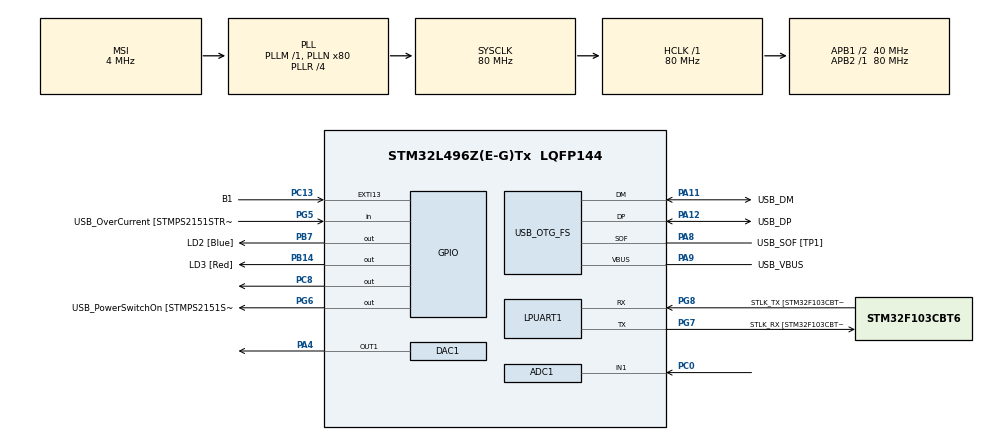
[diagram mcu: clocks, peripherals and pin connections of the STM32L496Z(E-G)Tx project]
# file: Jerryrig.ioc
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ADC1.Channel-0\#ChannelRegularConversion=ADC_CHANNEL_1
ADC1.ContinuousConvMode=DISABLE
ADC1.DMAContinuousRequests=ENABLE
ADC1.ExternalTrigConv=ADC_EXTERNALTRIG_T6_TRGO
ADC1.NbrOfConversionFlag=1
ADC1.OffsetNumber-0\#ChannelRegularConversion=ADC_OFFSET_NONE
ADC1.Rank-0\#ChannelRegularConversion=1
ADC1.SamplingTime-0\#ChannelRegularConversion=ADC_SAMPLETIME_2CYCLES_5
ADC1.master=1
DAC1.DAC_OutputBuffer-DAC_OUT1=DAC_OUTPUTBUFFER_ENABLE
DAC1.DAC_Trigger-DAC_OUT1=DAC_TRIGGER_T6_TRGO
DAC1.DAC_UserTrimming-DAC_OUT1=DAC_TRIMMING_FACTORY
Dma.ADC1.1.Direction=DMA_PERIPH_TO_MEMORY
Dma.ADC1.1.Instance=DMA1_Channel1
Dma.ADC1.1.MemDataAlignment=DMA_MDATAALIGN_WORD
Dma.ADC1.1.MemInc=DMA_MINC_ENABLE
Dma.ADC1.1.Mode=DMA_CIRCULAR
Dma.ADC1.1.PeriphDataAlignment=DMA_PDATAALIGN_WORD
Dma.ADC1.1.PeriphInc=DMA_PINC_DISABLE
Dma.ADC1.1.Priority=DMA_PRIORITY_HIGH
Dma.DAC_CH1.0.Direction=DMA_MEMORY_TO_PERIPH
Dma.DAC_CH1.0.Instance=DMA1_Channel3
Dma.DAC_CH1.0.MemDataAlignment=DMA_MDATAALIGN_WORD
Dma.DAC_CH1.0.MemInc=DMA_MINC_ENABLE
Dma.DAC_CH1.0.Mode=DMA_CIRCULAR
Dma.DAC_CH1.0.PeriphDataAlignment=DMA_PDATAALIGN_WORD
Dma.DAC_CH1.0.PeriphInc=DMA_PINC_DISABLE
Dma.DAC_CH1.0.Priority=DMA_PRIORITY_HIGH
Dma.Request0=DAC_CH1
Dma.Request1=ADC1
Mcu.Family=STM32L4
Mcu.Name=STM32L496Z(E-G)Tx
Mcu.Package=LQFP144
NVIC.DMA1_Channel1_IRQn=true\:0\:0\:false\:false\:true\:false\:true\:true
NVIC.DMA1_Channel3_IRQn=true\:0\:0\:false\:false\:true\:false\:true\:true
NVIC.PriorityGroup=NVIC_PRIORITYGROUP_4
NVIC.TIM7_IRQn=true\:0\:0\:false\:false\:true\:true\:true\:true
PA10.GPIO_Label=USB_ID
PA10.Signal=USB_OTG_FS_ID
PA11.GPIO_Label=USB_DM
PA11.Mode=Device_Only
PA11.Signal=USB_OTG_FS_DM
PA12.GPIO_Label=USB_DP
PA12.Mode=Device_Only
PA12.Signal=USB_OTG_FS_DP
PA13\ (JTMS/SWDIO).GPIO_Label=TMS
PA13\ (JTMS/SWDIO).Mode=Serial_Wire
PA13\ (JTMS/SWDIO).Signal=SYS_JTMS-SWDIO
PA14\ (JTCK/SWCLK).GPIO_Label=TCK
PA14\ (JTCK/SWCLK).Mode=Serial_Wire
PA14\ (JTCK/SWCLK).Signal=SYS_JTCK-SWCLK
PA4.Signal=COMP_DAC11_group
PA8.GPIO_Label=USB_SOF [TP1]
PA8.Mode=Activate_SOF_FS
PA8.Signal=USB_OTG_FS_SOF
PA9.GPIO_Label=USB_VBUS
PA9.Mode=Activate_VBUS
PA9.Signal=USB_OTG_FS_VBUS
PB14.GPIO_Label=LD3 [Red]
PB14.Signal=GPIO_Output
PB3\ (JTDO/TRACESWO).GPIO_Label=SWO
PB3\ (JTDO/TRACESWO).Signal=SYS_JTDO-SWO
PB7.GPIO_Label=LD2 [Blue]
PB7.Signal=GPIO_Output
PC0.Signal=ADCx_IN1
PC13.GPIO_Label=B1
PC13.Signal=GPXTI13
PC14-OSC32_IN\ (PC14).Mode=LSE-External-Oscillator
PC14-OSC32_IN\ (PC14).Signal=RCC_OSC32_IN
PC15-OSC32_OUT\ (PC15).Mode=LSE-External-Oscillator
PC15-OSC32_OUT\ (PC15).Signal=RCC_OSC32_OUT
PC8.Signal=GPIO_Output
PG5.GPIO_Label=USB_OverCurrent [STMPS2151STR_FAULT]
PG5.Signal=GPIO_Input
PG6.GPIO_Label=USB_PowerSwitchOn [STMPS2151STR_EN]
PG6.Signal=GPIO_Output
PG7.GPIO_Label=STLK_RX [STM32F103CBT6_PA3]
PG7.Mode=Asynchronous
PG7.Signal=LPUART1_TX
PG8.GPIO_Label=STLK_TX [STM32F103CBT6_PA2]
PG8.Mode=Asynchronous
PG8.Signal=LPUART1_RX
PH1-OSC_OUT\ (PH1).Signal=RCC_OSC_OUT
ProjectManager.HeapSize=0x200
ProjectManager.StackSize=0x400
ProjectManager.TargetToolchain=Makefile
RCC.48MHZClocksFreq_Value=24000000
RCC.ADCFreq_Value=48000000
RCC.AHBFreq_Value=80000000
RCC.APB1CLKDivider=RCC_HCLK_DIV2
RCC.APB1Freq_Value=40000000
RCC.APB1TimFreq_Value=80000000
RCC.APB2Freq_Value=80000000
RCC.APB2TimFreq_Value=80000000
RCC.CortexFreq_Value=80000000
RCC.HCLKFreq_Value=80000000
RCC.HSE_VALUE=8000000
RCC.HSI48_VALUE=48000000
RCC.HSI_VALUE=16000000
RCC.MSI_VALUE=4000000
RCC.PLLMUL=RCC_PLL_MUL9
RCC.PLLN=80
RCC.PLLR=RCC_PLLR_DIV4
RCC.PLLSAI1N=24
RCC.PRESCALERUSB=RCC_USBCLKSOURCE_PLL_DIV1_5
RCC.SYSCLKFreq_VALUE=80000000
RCC.SYSCLKSource=RCC_SYSCLKSOURCE_PLLCLK
RCC.SYSCLKSourceVirtual=RCC_SYSCLKSOURCE_PLLCLK
RCC.USBFreq_Value=48000000
RCC.VCOOutputFreq_Value=320000000
SH.ADCx_IN1.0=ADC1_IN1,IN1-Single-Ended
SH.COMP_DAC11_group.0=DAC1_OUT1,DAC_OUT1
TIM6.Period=400
TIM6.TIM_MasterOutputTrigger=TIM_TRGO_UPDATE
TIM7.Period=10000
USB_OTG_FS.VirtualMode=Device_Only
VP_TIM6_VS_ClockSourceINT.Mode=Enable_Timer
VP_TIM7_VS_ClockSourceINT.Mode=Enable_Timer
board=NUCLEO-L496ZG

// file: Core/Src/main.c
/* USER CODE BEGIN Header */
/**
  ******************************************************************************
  * @file           : main.c
  * @brief          : Main program body
  ******************************************************************************
  * @attention
  *
  * Copyright (c) 2023 STMicroelectronics.
  * All rights reserved.
  *
  * This software is licensed under terms that can be found in the LICENSE file
  * in the root directory of this software component.
  * If no LICENSE file comes with this software, it is provided AS-IS.
  *
  ******************************************************************************
  */
/* USER CODE END Header */
#include "main.h"

/* USER CODE BEGIN PD */
#define NS 1000
#define FULL_BUF_SIZE 256
#define HALF_BUF_SIZE 128
/* USER CODE END PD */

ADC_HandleTypeDef hadc1;
DMA_HandleTypeDef hdma_adc1;

DAC_HandleTypeDef hdac1;
DMA_HandleTypeDef hdma_dac_ch1;

UART_HandleTypeDef hlpuart1;

TIM_HandleTypeDef htim6;
TIM_HandleTypeDef htim7;

PCD_HandleTypeDef hpcd_USB_OTG_FS;

/* USER CODE BEGIN PV */
volatile uint32_t adc_val[FULL_BUF_SIZE];
volatile uint32_t dac_val[FULL_BUF_SIZE];

uint32_t* in_buf_ptr;
uint32_t* out_buf_ptr;
uint32_t out_out_ptr = 0;

int flag = 0;
int counter = 0;
int counter_counter = 0;

float Wave_LUT[NS] = {

     0        ,  0.00628314,  0.01256604,  0.01884844,  0.0251301 ,
  0.03141076,  0.03769018,  0.04396812,  0.05024432,  0.05651853,
  0.06279052,  0.06906003,  0.07532681,  0.08159061,  0.0878512 ,
  0.09410831,  0.10036171,  0.10661115,  0.11285638,  0.11909716,
  0.12533323,  0.13156436,  0.13779029,  0.14401078,  0.15022559,
  0.15643447,  0.16263717,  0.16883344,  0.17502306,  0.18120576,
  0.18738131,  0.19354947,  0.19970998,  0.20586261,  0.21200711,
  0.21814324,  0.22427076,  0.23038943,  0.236499  ,  0.24259923,
  0.24868989,  0.25477073,  0.26084151,  0.26690199,  0.27295194,
  0.27899111,  0.28501926,  0.29103617,  0.29704158,  0.30303527,
  0.30901699,  0.31498652,  0.32094361,  0.32688803,  0.33281954,
  0.33873792,  0.34464292,  0.35053432,  0.35641188,  0.36227537,
  0.36812455,  0.37395921,  0.3797791 ,  0.38558399,  0.39137367,
  0.39714789,  0.40290644,  0.40864907,  0.41437558,  0.42008573,
  0.42577929,  0.43145605,  0.43711577,  0.44275823,  0.44838322,
  0.4539905 ,  0.45957986,  0.46515108,  0.47070393,  0.4762382 ,
  0.48175367,  0.48725013,  0.49272734,  0.49818511,  0.5036232 ,
  0.50904142,  0.51443953,  0.51981734,  0.52517463,  0.53051118,
  0.53582679,  0.54112125,  0.54639435,  0.55164587,  0.55687562,
  0.56208338,  0.56726895,  0.57243213,  0.5775727 ,  0.58269048,
  0.58778525,  0.59285682,  0.59790498,  0.60292954,  0.6079303 ,
  0.61290705,  0.61785961,  0.62278778,  0.62769136,  0.63257016,
  0.63742399,  0.64225265,  0.64705596,  0.65183373,  0.65658576,
  0.66131187,  0.66601187,  0.67068558,  0.67533281,  0.67995338,
  0.68454711,  0.68911381,  0.69365331,  0.69816542,  0.70264997,
  0.70710678,  0.71153568,  0.71593648,  0.72030902,  0.72465313,
  0.72896863,  0.73325535,  0.73751312,  0.74174177,  0.74594115,
  0.75011107,  0.75425138,  0.75836192,  0.76244251,  0.76649301,
  0.77051324,  0.77450306,  0.7784623 ,  0.78239081,  0.78628843,
  0.79015501,  0.7939904 ,  0.79779444,  0.80156698,  0.80530789,
  0.80901699,  0.81269416,  0.81633925,  0.81995211,  0.8235326 ,
  0.82708057,  0.8305959 ,  0.83407843,  0.83752804,  0.84094458,
  0.84432793,  0.84767794,  0.85099448,  0.85427743,  0.85752666,
  0.86074203,  0.86392342,  0.8670707 ,  0.87018375,  0.87326245,
  0.87630668,  0.87931631,  0.88229123,  0.88523131,  0.88813645,
  0.89100652,  0.89384142,  0.89664104,  0.89940525,  0.90213396,
  0.90482705,  0.90748442,  0.91010597,  0.91269159,  0.91524117,
  0.91775463,  0.92023185,  0.92267274,  0.92507721,  0.92744515,
  0.92977649,  0.93207111,  0.93432894,  0.93654989,  0.93873386,
  0.94088077,  0.94299054,  0.94506308,  0.9470983 ,  0.94909614,
  0.95105652,  0.95297934,  0.95486454,  0.95671205,  0.95852179,
  0.96029369,  0.96202767,  0.96372368,  0.96538164,  0.96700149,
  0.96858316,  0.9701266 ,  0.97163173,  0.97309851,  0.97452687,
  0.97591676,  0.97726812,  0.9785809 ,  0.97985505,  0.98109052,
  0.98228725,  0.9834452 ,  0.98456433,  0.9856446 ,  0.98668594,
  0.98768834,  0.98865174,  0.98957612,  0.99046143,  0.99130763,
  0.9921147 ,  0.9928826 ,  0.99361131,  0.99430079,  0.99495102,
  0.99556196,  0.99613361,  0.99666593,  0.9971589 ,  0.99761251,
  0.99802673,  0.99840155,  0.99873696,  0.99903293,  0.99928947,
  0.99950656,  0.99968419,  0.99982235,  0.99992104,  0.99998026,
  1        ,  0.99998026,  0.99992104,  0.99982235,  0.99968419,
  0.99950656,  0.99928947,  0.99903293,  0.99873696,  0.99840155,
  0.99802673,  0.99761251,  0.9971589 ,  0.99666593,  0.99613361,
  0.99556196,  0.99495102,  0.99430079,  0.99361131,  0.9928826 ,
  0.9921147 ,  0.99130763,  0.99046143,  0.98957612,  0.98865174,
  0.98768834,  0.98668594,  0.9856446 ,  0.98456433,  0.9834452 ,
  0.98228725,  0.98109052,  0.97985505,  0.9785809 ,  0.97726812,
  0.97591676,  0.97452687,  0.97309851,  0.97163173,  0.9701266 ,
  0.96858316,  0.96700149,  0.96538164,  0.96372368,  0.96202767,
  0.96029369,  0.95852179,  0.95671205,  0.95486454,  0.95297934,
  0.95105652,  0.94909614,  0.9470983 ,  0.94506308,  0.94299054,
  0.94088077,  0.93873386,  0.93654989,  0.93432894,  0.93207111,
  0.92977649,  0.92744515,  0.92507721,  0.92267274,  0.92023185,
  0.91775463,  0.91524117,  0.91269159,  0.91010597,  0.90748442,
  0.90482705,  0.90213396,  0.89940525,  0.89664104,  0.89384142,
  0.89100652,  0.88813645,  0.88523131,  0.88229123,  0.87931631,
  0.87630668,  0.87326245,  0.87018375,  0.8670707 ,  0.86392342,
  0.86074203,  0.85752666,  0.85427743,  0.85099448,  0.84767794,
  0.84432793,  0.84094458,  0.83752804,  0.83407843,  0.8305959 ,
  0.82708057,  0.8235326 ,  0.81995211,  0.81633925,  0.81269416,
  0.80901699,  0.80530789,  0.80156698,  0.79779444,  0.7939904 ,
  0.79015501,  0.78628843,  0.78239081,  0.7784623 ,  0.77450306,
  0.77051324,  0.76649301,  0.76244251,  0.75836192,  0.75425138,
  0.75011107,  0.74594115,  0.74174177,  0.73751312,  0.73325535,
  0.72896863,  0.72465313,  0.72030902,  0.71593648,  0.71153568,
  0.70710678,  0.70264997,  0.69816542,  0.69365331,  0.68911381,
  0.68454711,  0.67995338,  0.67533281,  0.67068558,  0.66601187,
  0.66131187,  0.65658576,  0.65183373,  0.64705596,  0.64225265,
  0.63742399,  0.63257016,  0.62769136,  0.62278778,  0.61785961,
  0.61290705,  0.6079303 ,  0.60292954,  0.59790498,  0.59285682,
  0.58778525,  0.58269048,  0.5775727 ,  0.57243213,  0.56726895,
  0.56208338,  0.55687562,  0.55164587,  0.54639435,  0.54112125,
  0.53582679,  0.53051118,  0.52517463,  0.51981734,  0.51443953,
  0.50904142,  0.5036232 ,  0.49818511,  0.49272734,  0.48725013,
  0.48175367,  0.4762382 ,  0.47070393,  0.46515108,  0.45957986,
  0.4539905 ,  0.44838322,  0.44275823,  0.43711577,  0.43145605,
  0.42577929,  0.42008573,  0.41437558,  0.40864907,  0.40290644,
  0.39714789,  0.39137367,  0.38558399,  0.3797791 ,  0.37395921,
  0.36812455,  0.36227537,  0.35641188,  0.35053432,  0.34464292,
  0.33873792,  0.33281954,  0.32688803,  0.32094361,  0.31498652,
  0.30901699,  0.30303527,  0.29704158,  0.29103617,  0.28501926,
  0.27899111,  0.27295194,  0.26690199,  0.26084151,  0.25477073,
  0.24868989,  0.24259923,  0.236499  ,  0.23038943,  0.22427076,
  0.21814324,  0.21200711,  0.20586261,  0.19970998,  0.19354947,
  0.18738131,  0.18120576,  0.17502306,  0.16883344,  0.16263717,
  0.15643447,  0.15022559,  0.14401078,  0.13779029,  0.13156436,
  0.12533323,  0.11909716,  0.11285638,  0.10661115,  0.10036171,
  0.09410831,  0.0878512 ,  0.08159061,  0.07532681,  0.06906003,
  0.06279052,  0.05651853,  0.05024432,  0.04396812,  0.03769018,
  0.03141076,  0.0251301 ,  0.01884844,  0.01256604,  0.00628314,
  0        , -0.00628314, -0.01256604, -0.01884844, -0.0251301 ,
 -0.03141076, -0.03769018, -0.04396812, -0.05024432, -0.05651853,
 -0.06279052, -0.06906003, -0.07532681, -0.08159061, -0.0878512 ,
 -0.09410831, -0.10036171, -0.10661115, -0.11285638, -0.11909716,
 -0.12533323, -0.13156436, -0.13779029, -0.14401078, -0.15022559,
 -0.15643447, -0.16263717, -0.16883344, -0.17502306, -0.18120576,
 -0.18738131, -0.19354947, -0.19970998, -0.20586261, -0.21200711,
 -0.21814324, -0.22427076, -0.23038943, -0.236499  , -0.24259923,
 -0.24868989, -0.25477073, -0.26084151, -0.26690199, -0.27295194,
 -0.27899111, -0.28501926, -0.29103617, -0.29704158, -0.30303527,
 -0.30901699, -0.31498652, -0.32094361, -0.32688803, -0.33281954,
 -0.33873792, -0.34464292, -0.35053432, -0.35641188, -0.36227537,
 -0.36812455, -0.37395921, -0.3797791 , -0.38558399, -0.39137367,
 -0.39714789, -0.40290644, -0.40864907, -0.41437558, -0.42008573,
 -0.42577929, -0.43145605, -0.43711577, -0.44275823, -0.44838322,
 -0.4539905 , -0.45957986, -0.46515108, -0.47070393, -0.4762382 ,
 -0.48175367, -0.48725013, -0.49272734, -0.49818511, -0.5036232 ,
 -0.50904142, -0.51443953, -0.51981734, -0.52517463, -0.53051118,
 -0.53582679, -0.54112125, -0.54639435, -0.55164587, -0.55687562,
 -0.56208338, -0.56726895, -0.57243213, -0.5775727 , -0.58269048,
 -0.58778525, -0.59285682, -0.59790498, -0.60292954, -0.6079303 ,
 -0.61290705, -0.61785961, -0.62278778, -0.62769136, -0.63257016,
 -0.63742399, -0.64225265, -0.64705596, -0.65183373, -0.65658576,
 -0.66131187, -0.66601187, -0.67068558, -0.67533281, -0.67995338,
 -0.68454711, -0.68911381, -0.69365331, -0.69816542, -0.70264997,
 -0.70710678, -0.71153568, -0.71593648, -0.72030902, -0.72465313,
 -0.72896863, -0.73325535, -0.73751312, -0.74174177, -0.74594115,
 -0.75011107, -0.75425138, -0.75836192, -0.76244251, -0.76649301,
 -0.77051324, -0.77450306, -0.7784623 , -0.78239081, -0.78628843,
 -0.79015501, -0.7939904 , -0.79779444, -0.80156698, -0.80530789,
 -0.80901699, -0.81269416, -0.81633925, -0.81995211, -0.8235326 ,
 -0.82708057, -0.8305959 , -0.83407843, -0.83752804, -0.84094458,
 -0.84432793, -0.84767794, -0.85099448, -0.85427743, -0.85752666,
 -0.86074203, -0.86392342, -0.8670707 , -0.87018375, -0.87326245,
 -0.87630668, -0.87931631, -0.88229123, -0.88523131, -0.88813645,
 -0.89100652, -0.89384142, -0.89664104, -0.89940525, -0.90213396,
 -0.90482705, -0.90748442, -0.91010597, -0.91269159, -0.91524117,
 -0.91775463, -0.92023185, -0.92267274, -0.92507721, -0.92744515,
 -0.92977649, -0.93207111, -0.93432894, -0.93654989, -0.93873386,
 -0.94088077, -0.94299054, -0.94506308, -0.9470983 , -0.94909614,
 -0.95105652, -0.95297934, -0.95486454, -0.95671205, -0.95852179,
 -0.96029369, -0.96202767, -0.96372368, -0.96538164, -0.96700149,
 -0.96858316, -0.9701266 , -0.97163173, -0.97309851, -0.97452687,
 -0.97591676, -0.97726812, -0.9785809 , -0.97985505, -0.98109052,
 -0.98228725, -0.9834452 , -0.98456433, -0.9856446 , -0.98668594,
 -0.98768834, -0.98865174, -0.98957612, -0.99046143, -0.99130763,
 -0.9921147 , -0.9928826 , -0.99361131, -0.99430079, -0.99495102,
 -0.99556196, -0.99613361, -0.99666593, -0.9971589 , -0.99761251,
 -0.99802673, -0.99840155, -0.99873696, -0.99903293, -0.99928947,
 -0.99950656, -0.99968419, -0.99982235, -0.99992104, -0.99998026,
 -1        , -0.99998026, -0.99992104, -0.99982235, -0.99968419,
 -0.99950656, -0.99928947, -0.99903293, -0.99873696, -0.99840155,
 -0.99802673, -0.99761251, -0.9971589 , -0.99666593, -0.99613361,
 -0.99556196, -0.99495102, -0.99430079, -0.99361131, -0.9928826 ,
 -0.9921147 , -0.99130763, -0.99046143, -0.98957612, -0.98865174,
 -0.98768834, -0.98668594, -0.9856446 , -0.98456433, -0.9834452 ,
 -0.98228725, -0.98109052, -0.97985505, -0.9785809 , -0.97726812,
 -0.97591676, -0.97452687, -0.97309851, -0.97163173, -0.9701266 ,
 -0.96858316, -0.96700149, -0.96538164, -0.96372368, -0.96202767,
 -0.96029369, -0.95852179, -0.95671205, -0.95486454, -0.95297934,
 -0.95105652, -0.94909614, -0.9470983 , -0.94506308, -0.94299054,
 -0.94088077, -0.93873386, -0.93654989, -0.93432894, -0.93207111,
 -0.92977649, -0.92744515, -0.92507721, -0.92267274, -0.92023185,
 -0.91775463, -0.91524117, -0.91269159, -0.91010597, -0.90748442,
 -0.90482705, -0.90213396, -0.89940525, -0.89664104, -0.89384142,
 -0.89100652, -0.88813645, -0.88523131, -0.88229123, -0.87931631,
 -0.87630668, -0.87326245, -0.87018375, -0.8670707 , -0.86392342,
 -0.86074203, -0.85752666, -0.85427743, -0.85099448, -0.84767794,
 -0.84432793, -0.84094458, -0.83752804, -0.83407843, -0.8305959 ,
 -0.82708057, -0.8235326 , -0.81995211, -0.81633925, -0.81269416,
 -0.80901699, -0.80530789, -0.80156698, -0.79779444, -0.7939904 ,
 -0.79015501, -0.78628843, -0.78239081, -0.7784623 , -0.77450306,
 -0.77051324, -0.76649301, -0.76244251, -0.75836192, -0.75425138,
 -0.75011107, -0.74594115, -0.74174177, -0.73751312, -0.73325535,
 -0.72896863, -0.72465313, -0.72030902, -0.71593648, -0.71153568,
 -0.70710678, -0.70264997, -0.69816542, -0.69365331, -0.68911381,
 -0.68454711, -0.67995338, -0.67533281, -0.67068558, -0.66601187,
 -0.66131187, -0.65658576, -0.65183373, -0.64705596, -0.64225265,
 -0.63742399, -0.63257016, -0.62769136, -0.62278778, -0.61785961,
 -0.61290705, -0.6079303 , -0.60292954, -0.59790498, -0.59285682,
 -0.58778525, -0.58269048, -0.5775727 , -0.57243213, -0.56726895,
 -0.56208338, -0.55687562, -0.55164587, -0.54639435, -0.54112125,
 -0.53582679, -0.53051118, -0.52517463, -0.51981734, -0.51443953,
 -0.50904142, -0.5036232 , -0.49818511, -0.49272734, -0.48725013,
 -0.48175367, -0.4762382 , -0.47070393, -0.46515108, -0.45957986,
 -0.4539905 , -0.44838322, -0.44275823, -0.43711577, -0.43145605,
 -0.42577929, -0.42008573, -0.41437558, -0.40864907, -0.40290644,
 -0.39714789, -0.39137367, -0.38558399, -0.3797791 , -0.37395921,
 -0.36812455, -0.36227537, -0.35641188, -0.35053432, -0.34464292,
 -0.33873792, -0.33281954, -0.32688803, -0.32094361, -0.31498652,
 -0.30901699, -0.30303527, -0.29704158, -0.29103617, -0.28501926,
 -0.27899111, -0.27295194, -0.26690199, -0.26084151, -0.25477073,
 -0.24868989, -0.24259923, -0.236499  , -0.23038943, -0.22427076,
 -0.21814324, -0.21200711, -0.20586261, -0.19970998, -0.19354947,
 -0.18738131, -0.18120576, -0.17502306, -0.16883344, -0.16263717,
 -0.15643447, -0.15022559, -0.14401078, -0.13779029, -0.13156436,
 -0.12533323, -0.11909716, -0.11285638, -0.10661115, -0.10036171,
 -0.09410831, -0.0878512 , -0.08159061, -0.07532681, -0.06906003,
 -0.06279052, -0.05651853, -0.05024432, -0.04396812, -0.03769018,
 -0.03141076, -0.0251301 , -0.01884844, -0.01256604, -0.00628314
       };

/*

FIR filter designed with
http://t-filter.appspot.com

sampling frequency: 200000 Hz

* 0 Hz - 16000 Hz
  gain = 1
  desired ripple = 5 dB
  actual ripple = 0 dB

*/

#define FILTER_TAP_NUM 5

static double filter_taps[FILTER_TAP_NUM] = {
  // -4.4408920985006264e-17,
  // 4.4408920985006264e-17,
  1,0,0,0,0
  // 4.4408920985006264e-17,
  // -4.4408920985006264e-17
};

/* USER CODE END PV */

void SystemClock_Config(void);
void PeriphCommonClock_Config(void);
static void MX_GPIO_Init(void);
static void MX_DMA_Init(void);
static void MX_DAC1_Init(void);
static void MX_LPUART1_UART_Init(void);
static void MX_USB_OTG_FS_PCD_Init(void);
static void MX_ADC1_Init(void);
static void MX_TIM6_Init(void);
static void MX_TIM7_Init(void);

/* USER CODE BEGIN 0 */

uint32_t fir(int);

int numbytes = 0;

void HAL_ADC_ConvHalfCpltCallback(ADC_HandleTypeDef* hadc) {
  //first half of adc buffer is full
  in_buf_ptr = &adc_val[0];
  out_buf_ptr = &dac_val[HALF_BUF_SIZE];// + HALF_BUF_SIZE;

  //numbytes++;
  //if (numbytes > HALF_BUF_SIZE - 1) numbytes=0;

  //uint32_t test = fir((int)in_buf_ptr[numbytes]);
  //out_buf_ptr[numbytes] = test;

  flag=1;
}

void HAL_ADC_ConvCpltCallback(ADC_HandleTypeDef* hadc) {
  //second half of adc buffer is full
  in_buf_ptr = &adc_val[HALF_BUF_SIZE];// + HALF_BUF_SIZE;
  out_buf_ptr = &dac_val[0];

  //numbytes = FULL_BUF_SIZE - __HAL_DMA_GET_COUNTER(hadc1.hdmarx);
  //numbytes++;
  //if (numbytes > HALF_BUF_SIZE - 1) numbytes=0;

  //uint32_t test = fir((int)in_buf_ptr[numbytes]);
  //out_buf_ptr[numbytes] = test;

  flag=1;
}

void HAL_TIM_PeriodElapsedCallback(TIM_HandleTypeDef *htim) {
  if (htim == &htim7) {
    //alpha+=0.05;
    //if (alpha > 1) alpha = 0;
  }

  if (htim == &htim6) {
    //out_out_ptr++;
    //if (out_out_ptr > HALF_BUF_SIZE-1) out_out_ptr = 0;
    // process_data();
  }
}

float ema_alpha = 0.1f;
float ema_out = 0;
void ema_lpf(float in) {
  ema_out = ema_alpha * in + (1.0f - ema_alpha) * ema_out;
}

float firdata[FILTER_TAP_NUM];
int firptr[FILTER_TAP_NUM];
int fir_w_ptr = 0;

uint32_t fir(int in) {
  float in_f = (float)in;
  float fir_out = 0;
  for (int i=0;i<FILTER_TAP_NUM;i++) {
    fir_out += filter_taps[firptr[i]] * firdata[i];
    firptr[i]++;
  }
  firdata[fir_w_ptr] = in_f;
  firptr[fir_w_ptr] = 0;
  fir_w_ptr++;
  if (fir_w_ptr == FILTER_TAP_NUM) fir_w_ptr = 0;

  return (uint32_t) fir_out;
}

void process_data() {
  for (int i=0;i<HALF_BUF_SIZE;i++) {
    //out_buf_ptr[i] = in_buf_ptr[i];

    float in = ((float) in_buf_ptr[i]);
    ema_lpf(in);
    out_buf_ptr[i] = (uint32_t)(ema_out);

    //if (bufIndex > 0) bufIndex--;
    //else bufIndex = HALF_BUF_SIZE - 1;
    //bufIndex = 0;

    //fir_out += filter_taps[i] * (float)(in_buf_ptr[bufIndex]);

    //float temp = ((float)(in_buf_ptr[i] * 1.0/2048.0) - 1.0);
    //out_buf_ptr[i]=(uint32_t)(temp * 2047+2048);
    //out_buf_ptr[i]=((float)(in_buf_ptr[i] * 1.0/2048.0 - 1) * (Wave_LUT[counter]))*2047 + 2048;
    //out_buf_ptr[i] = Wave_LUT[counter]*2047 + 2048;
    //counter_counter++;
    //if (counter_counter == 1) {
      //counter++;
      //counter_counter = 0;
    //}
  }
  //out_buf_ptr[out_out_ptr] = (fir_out / 3000000000 * 4096);
}

/* USER CODE END 0 */

int main(void)
{

  /* MCU Configuration--------------------------------------------------------*/

  /* Reset of all peripherals, Initializes the Flash interface and the Systick. */
  HAL_Init();

  /* Configure the system clock */
  SystemClock_Config();

/* Configure the peripherals common clocks */
  PeriphCommonClock_Config();

  /* Initialize all configured peripherals */
  MX_GPIO_Init();
  MX_DMA_Init();
  MX_DAC1_Init();
  MX_LPUART1_UART_Init();
  MX_USB_OTG_FS_PCD_Init();
  MX_ADC1_Init();
  MX_TIM6_Init();
  MX_TIM7_Init();
  /* USER CODE BEGIN 2 */
  HAL_TIM_Base_Start_IT(&htim6);
  HAL_TIM_Base_Start_IT(&htim7);
  HAL_ADC_Start_DMA(&hadc1, (uint32_t*) adc_val, FULL_BUF_SIZE);
  HAL_DAC_Start_DMA(&hdac1, DAC_CHANNEL_1, (uint32_t*) dac_val, FULL_BUF_SIZE, DAC_ALIGN_12B_R);

  //arm_conv_f32(a, 5, b, 5, c);
  /* USER CODE END 2 */

  /* Infinite loop */
  /* USER CODE BEGIN WHILE */
    while (1)
    {
      if (flag) {
        HAL_GPIO_TogglePin(GPIOC, GPIO_PIN_8);
        flag = 0;
        process_data();
      }
    //HAL_GPIO_TogglePin(GPIOB, GPIO_PIN_7);
    //HAL_Delay(1000);
    /* USER CODE END WHILE */

  }
}

void SystemClock_Config(void)
{
  RCC_OscInitTypeDef RCC_OscInitStruct = {0};
  RCC_ClkInitTypeDef RCC_ClkInitStruct = {0};

  /** Configure the main internal regulator output voltage
  */
  if (HAL_PWREx_ControlVoltageScaling(PWR_REGULATOR_VOLTAGE_SCALE1) != HAL_OK)
  {
    Error_Handler();
  }

  /** Configure LSE Drive Capability
  */
  HAL_PWR_EnableBkUpAccess();
  __HAL_RCC_LSEDRIVE_CONFIG(RCC_LSEDRIVE_LOW);

  /** Initializes the RCC Oscillators according to the specified parameters
  * in the RCC_OscInitTypeDef structure.
  */
  RCC_OscInitStruct.OscillatorType = RCC_OSCILLATORTYPE_LSE|RCC_OSCILLATORTYPE_MSI;
  RCC_OscInitStruct.LSEState = RCC_LSE_ON;
  RCC_OscInitStruct.MSIState = RCC_MSI_ON;
  RCC_OscInitStruct.MSICalibrationValue = 0;
  RCC_OscInitStruct.MSIClockRange = RCC_MSIRANGE_6;
  RCC_OscInitStruct.PLL.PLLState = RCC_PLL_ON;
  RCC_OscInitStruct.PLL.PLLSource = RCC_PLLSOURCE_MSI;
  RCC_OscInitStruct.PLL.PLLM = 1;
  RCC_OscInitStruct.PLL.PLLN = 80;
  RCC_OscInitStruct.PLL.PLLP = RCC_PLLP_DIV2;
  RCC_OscInitStruct.PLL.PLLQ = RCC_PLLQ_DIV2;
  RCC_OscInitStruct.PLL.PLLR = RCC_PLLR_DIV4;
  if (HAL_RCC_OscConfig(&RCC_OscInitStruct) != HAL_OK)
  {
    Error_Handler();
  }

  /** Initializes the CPU, AHB and APB buses clocks
  */
  RCC_ClkInitStruct.ClockType = RCC_CLOCKTYPE_HCLK|RCC_CLOCKTYPE_SYSCLK
                              |RCC_CLOCKTYPE_PCLK1|RCC_CLOCKTYPE_PCLK2;
  RCC_ClkInitStruct.SYSCLKSource = RCC_SYSCLKSOURCE_PLLCLK;
  RCC_ClkInitStruct.AHBCLKDivider = RCC_SYSCLK_DIV1;
  RCC_ClkInitStruct.APB1CLKDivider = RCC_HCLK_DIV2;
  RCC_ClkInitStruct.APB2CLKDivider = RCC_HCLK_DIV1;

  if (HAL_RCC_ClockConfig(&RCC_ClkInitStruct, FLASH_LATENCY_4) != HAL_OK)
  {
    Error_Handler();
  }

  /** Enable MSI Auto calibration
  */
  HAL_RCCEx_EnableMSIPLLMode();
}

void PeriphCommonClock_Config(void)
{
  RCC_PeriphCLKInitTypeDef PeriphClkInit = {0};

  /** Initializes the peripherals clock
  */
  PeriphClkInit.PeriphClockSelection = RCC_PERIPHCLK_USB|RCC_PERIPHCLK_ADC;
  PeriphClkInit.AdcClockSelection = RCC_ADCCLKSOURCE_PLLSAI1;
  PeriphClkInit.UsbClockSelection = RCC_USBCLKSOURCE_PLLSAI1;
  PeriphClkInit.PLLSAI1.PLLSAI1Source = RCC_PLLSOURCE_MSI;
  PeriphClkInit.PLLSAI1.PLLSAI1M = 1;
  PeriphClkInit.PLLSAI1.PLLSAI1N = 24;
  PeriphClkInit.PLLSAI1.PLLSAI1P = RCC_PLLP_DIV2;
  PeriphClkInit.PLLSAI1.PLLSAI1Q = RCC_PLLQ_DIV2;
  PeriphClkInit.PLLSAI1.PLLSAI1R = RCC_PLLR_DIV2;
  PeriphClkInit.PLLSAI1.PLLSAI1ClockOut = RCC_PLLSAI1_48M2CLK|RCC_PLLSAI1_ADC1CLK;
  if (HAL_RCCEx_PeriphCLKConfig(&PeriphClkInit) != HAL_OK)
  {
    Error_Handler();
  }
}

static void MX_ADC1_Init(void)
{

  ADC_MultiModeTypeDef multimode = {0};
  ADC_ChannelConfTypeDef sConfig = {0};

  /** Common config
  */
  hadc1.Instance = ADC1;
  hadc1.Init.ClockPrescaler = ADC_CLOCK_ASYNC_DIV1;
  hadc1.Init.Resolution = ADC_RESOLUTION_12B;
  hadc1.Init.DataAlign = ADC_DATAALIGN_RIGHT;
  hadc1.Init.ScanConvMode = ADC_SCAN_DISABLE;
  hadc1.Init.EOCSelection = ADC_EOC_SINGLE_CONV;
  hadc1.Init.LowPowerAutoWait = DISABLE;
  hadc1.Init.ContinuousConvMode = DISABLE;
  hadc1.Init.NbrOfConversion = 1;
  hadc1.Init.DiscontinuousConvMode = DISABLE;
  hadc1.Init.ExternalTrigConv = ADC_EXTERNALTRIG_T6_TRGO;
  hadc1.Init.ExternalTrigConvEdge = ADC_EXTERNALTRIGCONVEDGE_RISING;
  hadc1.Init.DMAContinuousRequests = ENABLE;
  hadc1.Init.Overrun = ADC_OVR_DATA_PRESERVED;
  hadc1.Init.OversamplingMode = DISABLE;
  if (HAL_ADC_Init(&hadc1) != HAL_OK)
  {
    Error_Handler();
  }

  /** Configure the ADC multi-mode
  */
  multimode.Mode = ADC_MODE_INDEPENDENT;
  if (HAL_ADCEx_MultiModeConfigChannel(&hadc1, &multimode) != HAL_OK)
  {
    Error_Handler();
  }

  /** Configure Regular Channel
  */
  sConfig.Channel = ADC_CHANNEL_1;
  sConfig.Rank = ADC_REGULAR_RANK_1;
  sConfig.SamplingTime = ADC_SAMPLETIME_2CYCLES_5;
  sConfig.SingleDiff = ADC_SINGLE_ENDED;
  sConfig.OffsetNumber = ADC_OFFSET_NONE;
  sConfig.Offset = 0;
  if (HAL_ADC_ConfigChannel(&hadc1, &sConfig) != HAL_OK)
  {
    Error_Handler();
  }

}

static void MX_DAC1_Init(void)
{

  DAC_ChannelConfTypeDef sConfig = {0};

  /** DAC Initialization
  */
  hdac1.Instance = DAC1;
  if (HAL_DAC_Init(&hdac1) != HAL_OK)
  {
    Error_Handler();
  }

  /** DAC channel OUT1 config
  */
  sConfig.DAC_SampleAndHold = DAC_SAMPLEANDHOLD_DISABLE;
  sConfig.DAC_Trigger = DAC_TRIGGER_T6_TRGO;
  sConfig.DAC_OutputBuffer = DAC_OUTPUTBUFFER_ENABLE;
  sConfig.DAC_ConnectOnChipPeripheral = DAC_CHIPCONNECT_DISABLE;
  sConfig.DAC_UserTrimming = DAC_TRIMMING_FACTORY;
  if (HAL_DAC_ConfigChannel(&hdac1, &sConfig, DAC_CHANNEL_1) != HAL_OK)
  {
    Error_Handler();
  }

}

static void MX_LPUART1_UART_Init(void)
{

  hlpuart1.Instance = LPUART1;
  hlpuart1.Init.BaudRate = 209700;
  hlpuart1.Init.WordLength = UART_WORDLENGTH_7B;
  hlpuart1.Init.StopBits = UART_STOPBITS_1;
  hlpuart1.Init.Parity = UART_PARITY_NONE;
  hlpuart1.Init.Mode = UART_MODE_TX_RX;
  hlpuart1.Init.HwFlowCtl = UART_HWCONTROL_NONE;
  hlpuart1.Init.OneBitSampling = UART_ONE_BIT_SAMPLE_DISABLE;
  hlpuart1.AdvancedInit.AdvFeatureInit = UART_ADVFEATURE_NO_INIT;
  if (HAL_UART_Init(&hlpuart1) != HAL_OK)
  {
    Error_Handler();
  }

}

static void MX_TIM6_Init(void)
{

  TIM_MasterConfigTypeDef sMasterConfig = {0};

  htim6.Instance = TIM6;
  htim6.Init.Prescaler = 0;
  htim6.Init.CounterMode = TIM_COUNTERMODE_UP;
  htim6.Init.Period = 400;
  htim6.Init.AutoReloadPreload = TIM_AUTORELOAD_PRELOAD_DISABLE;
  if (HAL_TIM_Base_Init(&htim6) != HAL_OK)
  {
    Error_Handler();
  }
  sMasterConfig.MasterOutputTrigger = TIM_TRGO_UPDATE;
  sMasterConfig.MasterSlaveMode = TIM_MASTERSLAVEMODE_DISABLE;
  if (HAL_TIMEx_MasterConfigSynchronization(&htim6, &sMasterConfig) != HAL_OK)
  {
    Error_Handler();
  }

}

static void MX_TIM7_Init(void)
{

  TIM_MasterConfigTypeDef sMasterConfig = {0};

  htim7.Instance = TIM7;
  htim7.Init.Prescaler = 0;
  htim7.Init.CounterMode = TIM_COUNTERMODE_UP;
  htim7.Init.Period = 10000;
  htim7.Init.AutoReloadPreload = TIM_AUTORELOAD_PRELOAD_DISABLE;
  if (HAL_TIM_Base_Init(&htim7) != HAL_OK)
  {
    Error_Handler();
  }
  sMasterConfig.MasterOutputTrigger = TIM_TRGO_RESET;
  sMasterConfig.MasterSlaveMode = TIM_MASTERSLAVEMODE_DISABLE;
  if (HAL_TIMEx_MasterConfigSynchronization(&htim7, &sMasterConfig) != HAL_OK)
  {
    Error_Handler();
  }

}

static void MX_USB_OTG_FS_PCD_Init(void)
{

  hpcd_USB_OTG_FS.Instance = USB_OTG_FS;
  hpcd_USB_OTG_FS.Init.dev_endpoints = 6;
  hpcd_USB_OTG_FS.Init.speed = PCD_SPEED_FULL;
  hpcd_USB_OTG_FS.Init.phy_itface = PCD_PHY_EMBEDDED;
  hpcd_USB_OTG_FS.Init.Sof_enable = ENABLE;
  hpcd_USB_OTG_FS.Init.low_power_enable = DISABLE;
  hpcd_USB_OTG_FS.Init.lpm_enable = DISABLE;
  hpcd_USB_OTG_FS.Init.battery_charging_enable = ENABLE;
  hpcd_USB_OTG_FS.Init.use_dedicated_ep1 = DISABLE;
  hpcd_USB_OTG_FS.Init.vbus_sensing_enable = ENABLE;
  if (HAL_PCD_Init(&hpcd_USB_OTG_FS) != HAL_OK)
  {
    Error_Handler();
  }

}

static void MX_DMA_Init(void)
{

  /* DMA controller clock enable */
  __HAL_RCC_DMA1_CLK_ENABLE();

  /* DMA interrupt init */
  /* DMA1_Channel1_IRQn interrupt configuration */
  HAL_NVIC_SetPriority(DMA1_Channel1_IRQn, 0, 0);
  HAL_NVIC_EnableIRQ(DMA1_Channel1_IRQn);
  /* DMA1_Channel3_IRQn interrupt configuration */
  HAL_NVIC_SetPriority(DMA1_Channel3_IRQn, 0, 0);
  HAL_NVIC_EnableIRQ(DMA1_Channel3_IRQn);

}

static void MX_GPIO_Init(void)
{
  GPIO_InitTypeDef GPIO_InitStruct = {0};

  /* GPIO Ports Clock Enable */
  __HAL_RCC_GPIOC_CLK_ENABLE();
  __HAL_RCC_GPIOH_CLK_ENABLE();
  __HAL_RCC_GPIOA_CLK_ENABLE();
  __HAL_RCC_GPIOB_CLK_ENABLE();
  __HAL_RCC_GPIOG_CLK_ENABLE();
  HAL_PWREx_EnableVddIO2();

  /*Configure GPIO pin Output Level */
  HAL_GPIO_WritePin(GPIOB, LD3_Pin|LD2_Pin, GPIO_PIN_RESET);

  /*Configure GPIO pin Output Level */
  HAL_GPIO_WritePin(USB_PowerSwitchOn_GPIO_Port, USB_PowerSwitchOn_Pin, GPIO_PIN_RESET);

  /*Configure GPIO pin Output Level */
  HAL_GPIO_WritePin(GPIOC, GPIO_PIN_8, GPIO_PIN_RESET);

  /*Configure GPIO pin : B1_Pin */
  GPIO_InitStruct.Pin = B1_Pin;
  GPIO_InitStruct.Mode = GPIO_MODE_IT_RISING;
  GPIO_InitStruct.Pull = GPIO_NOPULL;
  HAL_GPIO_Init(B1_GPIO_Port, &GPIO_InitStruct);

  /*Configure GPIO pins : LD3_Pin LD2_Pin */
  GPIO_InitStruct.Pin = LD3_Pin|LD2_Pin;
  GPIO_InitStruct.Mode = GPIO_MODE_OUTPUT_PP;
  GPIO_InitStruct.Pull = GPIO_NOPULL;
  GPIO_InitStruct.Speed = GPIO_SPEED_FREQ_LOW;
  HAL_GPIO_Init(GPIOB, &GPIO_InitStruct);

  /*Configure GPIO pin : USB_OverCurrent_Pin */
  GPIO_InitStruct.Pin = USB_OverCurrent_Pin;
  GPIO_InitStruct.Mode = GPIO_MODE_INPUT;
  GPIO_InitStruct.Pull = GPIO_NOPULL;
  HAL_GPIO_Init(USB_OverCurrent_GPIO_Port, &GPIO_InitStruct);

  /*Configure GPIO pin : USB_PowerSwitchOn_Pin */
  GPIO_InitStruct.Pin = USB_PowerSwitchOn_Pin;
  GPIO_InitStruct.Mode = GPIO_MODE_OUTPUT_PP;
  GPIO_InitStruct.Pull = GPIO_NOPULL;
  GPIO_InitStruct.Speed = GPIO_SPEED_FREQ_LOW;
  HAL_GPIO_Init(USB_PowerSwitchOn_GPIO_Port, &GPIO_InitStruct);

  /*Configure GPIO pin : PC8 */
  GPIO_InitStruct.Pin = GPIO_PIN_8;
  GPIO_InitStruct.Mode = GPIO_MODE_OUTPUT_PP;
  GPIO_InitStruct.Pull = GPIO_NOPULL;
  GPIO_InitStruct.Speed = GPIO_SPEED_FREQ_LOW;
  HAL_GPIO_Init(GPIOC, &GPIO_InitStruct);

}

void Error_Handler(void)
{
  __disable_irq();
  while (1)
  {
  }
}
